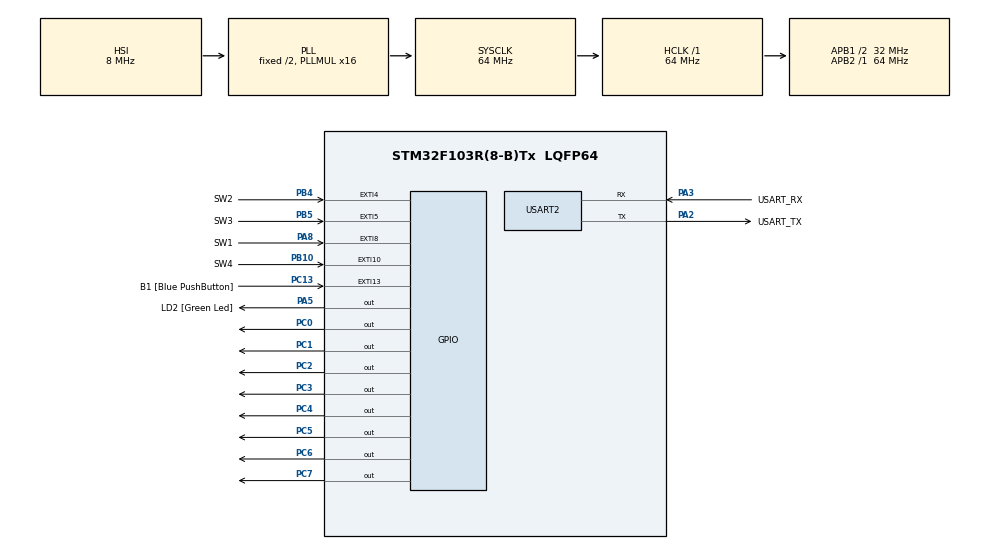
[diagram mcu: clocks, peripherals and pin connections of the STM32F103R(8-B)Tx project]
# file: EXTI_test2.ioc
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Mcu.Family=STM32F1
Mcu.Name=STM32F103R(8-B)Tx
Mcu.Package=LQFP64
NVIC.EXTI15_10_IRQn=true\:0\:0\:false\:false\:true\:true\:true\:true
NVIC.EXTI4_IRQn=true\:0\:0\:false\:false\:true\:true\:true\:true
NVIC.EXTI9_5_IRQn=true\:0\:0\:false\:false\:true\:true\:true\:true
NVIC.PriorityGroup=NVIC_PRIORITYGROUP_4
PA13.GPIO_Label=TMS
PA13.Mode=Serial_Wire
PA13.Signal=SYS_JTMS-SWDIO
PA14.GPIO_Label=TCK
PA14.Mode=Serial_Wire
PA14.Signal=SYS_JTCK-SWCLK
PA2.GPIO_Label=USART_TX
PA2.GPIO_Mode=GPIO_MODE_AF_PP
PA2.GPIO_PuPd=GPIO_NOPULL
PA2.GPIO_Speed=GPIO_SPEED_FREQ_LOW
PA2.Mode=Asynchronous
PA2.Signal=USART2_TX
PA3.GPIO_Label=USART_RX
PA3.GPIO_Mode=GPIO_MODE_AF_PP
PA3.GPIO_PuPd=GPIO_NOPULL
PA3.GPIO_Speed=GPIO_SPEED_FREQ_LOW
PA3.Mode=Asynchronous
PA3.Signal=USART2_RX
PA5.GPIO_Label=LD2 [Green Led]
PA5.GPIO_ModeDefaultOutputPP=GPIO_MODE_OUTPUT_PP
PA5.GPIO_PuPd=GPIO_NOPULL
PA5.GPIO_Speed=GPIO_SPEED_FREQ_LOW
PA5.Signal=GPIO_Output
PA8.GPIO_Label=SW1
PA8.GPIO_ModeDefaultEXTI=GPIO_MODE_IT_FALLING
PA8.Signal=GPXTI8
PB10.GPIO_Label=SW4
PB10.GPIO_ModeDefaultEXTI=GPIO_MODE_IT_FALLING
PB10.Signal=GPXTI10
PB3.GPIO_Label=SWO
PB3.Signal=SYS_JTDO-TRACESWO
PB4.GPIO_Label=SW2
PB4.GPIO_ModeDefaultEXTI=GPIO_MODE_IT_FALLING
PB4.Signal=GPXTI4
PB5.GPIO_Label=SW3
PB5.GPIO_ModeDefaultEXTI=GPIO_MODE_IT_FALLING
PB5.Signal=GPXTI5
PC0.Signal=GPIO_Output
PC1.Signal=GPIO_Output
PC13-TAMPER-RTC.GPIO_Label=B1 [Blue PushButton]
PC13-TAMPER-RTC.GPIO_PuPd=GPIO_NOPULL
PC13-TAMPER-RTC.Signal=GPXTI13
PC14-OSC32_IN.Mode=LSE-External-Oscillator
PC14-OSC32_IN.Signal=RCC_OSC32_IN
PC15-OSC32_OUT.Mode=LSE-External-Oscillator
PC15-OSC32_OUT.Signal=RCC_OSC32_OUT
PC2.Signal=GPIO_Output
PC3.Signal=GPIO_Output
PC4.Signal=GPIO_Output
PC5.Signal=GPIO_Output
PC6.Signal=GPIO_Output
PC7.Signal=GPIO_Output
PD0-OSC_IN.Mode=HSE-External-Clock-Source
PD0-OSC_IN.Signal=RCC_OSC_IN
PD1-OSC_OUT.Mode=HSE-External-Clock-Source
PD1-OSC_OUT.Signal=RCC_OSC_OUT
ProjectManager.HeapSize=0x200
ProjectManager.StackSize=0x400
ProjectManager.TargetToolchain=STM32CubeIDE
RCC.AHBFreq_Value=64000000
RCC.APB1CLKDivider=RCC_HCLK_DIV2
RCC.APB1Freq_Value=32000000
RCC.APB1TimFreq_Value=64000000
RCC.APB2Freq_Value=64000000
RCC.APB2TimFreq_Value=64000000
RCC.HCLKFreq_Value=64000000
RCC.PLLMUL=RCC_PLL_MUL16
RCC.RTCClockSelection=RCC_RTCCLKSOURCE_LSE
RCC.SYSCLKFreq_VALUE=64000000
RCC.SYSCLKSource=RCC_SYSCLKSOURCE_PLLCLK
RCC.USBFreq_Value=64000000
USART2.VirtualMode=VM_ASYNC
board=NUCLEO-F103RB

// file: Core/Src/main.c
/* USER CODE BEGIN Header */
/**
  ******************************************************************************
  * @file           : main.c
  * @brief          : Main program body
  ******************************************************************************
  * @attention
  *
  * Copyright (c) 2022 STMicroelectronics.
  * All rights reserved.
  *
  * This software is licensed under terms that can be found in the LICENSE file
  * in the root directory of this software component.
  * If no LICENSE file comes with this software, it is provided AS-IS.
  *
  ******************************************************************************
  */
/* USER CODE END Header */
#include "main.h"

 UART_HandleTypeDef huart2;

/* USER CODE BEGIN PV */
	int flag_SW1 = 0;
	int flag_SW2 = 0;
	int flag_SW3 = 0;
	int flag_SW4 = 0;
/* USER CODE END PV */

void SystemClock_Config(void);
static void MX_GPIO_Init(void);
static void MX_USART2_UART_Init(void);

int main(void)
{

  /* MCU Configuration--------------------------------------------------------*/

  /* Reset of all peripherals, Initializes the Flash interface and the Systick. */
  HAL_Init();

  /* Configure the system clock */
  SystemClock_Config();

  /* Initialize all configured peripherals */
  MX_GPIO_Init();
  MX_USART2_UART_Init();

  /* Infinite loop */
  while (1)
  {
	  if(flag_SW1){
			GPIOC->BRR = 0xff;
			GPIOC->BSRR = 0x03;
	  }
	  if(flag_SW2){
		  GPIOC->BRR = 0xff;
		  GPIOC->BSRR = 0x0c;
	  }
	  if(flag_SW3){
		  GPIOC->BRR = 0xff;
		  GPIOC->BSRR = 0x30;
	  }
	  if(flag_SW4){
		  GPIOC->BRR = 0xff;
		  GPIOC->BSRR = 0xc0;
	  }

  }
}

void SystemClock_Config(void)
{
  RCC_OscInitTypeDef RCC_OscInitStruct = {0};
  RCC_ClkInitTypeDef RCC_ClkInitStruct = {0};

  /** Initializes the RCC Oscillators according to the specified parameters
  * in the RCC_OscInitTypeDef structure.
  */
  RCC_OscInitStruct.OscillatorType = RCC_OSCILLATORTYPE_HSI;
  RCC_OscInitStruct.HSIState = RCC_HSI_ON;
  RCC_OscInitStruct.HSICalibrationValue = RCC_HSICALIBRATION_DEFAULT;
  RCC_OscInitStruct.PLL.PLLState = RCC_PLL_ON;
  RCC_OscInitStruct.PLL.PLLSource = RCC_PLLSOURCE_HSI_DIV2;
  RCC_OscInitStruct.PLL.PLLMUL = RCC_PLL_MUL16;
  if (HAL_RCC_OscConfig(&RCC_OscInitStruct) != HAL_OK)
  {
    Error_Handler();
  }

  /** Initializes the CPU, AHB and APB buses clocks
  */
  RCC_ClkInitStruct.ClockType = RCC_CLOCKTYPE_HCLK|RCC_CLOCKTYPE_SYSCLK
                              |RCC_CLOCKTYPE_PCLK1|RCC_CLOCKTYPE_PCLK2;
  RCC_ClkInitStruct.SYSCLKSource = RCC_SYSCLKSOURCE_PLLCLK;
  RCC_ClkInitStruct.AHBCLKDivider = RCC_SYSCLK_DIV1;
  RCC_ClkInitStruct.APB1CLKDivider = RCC_HCLK_DIV2;
  RCC_ClkInitStruct.APB2CLKDivider = RCC_HCLK_DIV1;

  if (HAL_RCC_ClockConfig(&RCC_ClkInitStruct, FLASH_LATENCY_2) != HAL_OK)
  {
    Error_Handler();
  }
}

static void MX_USART2_UART_Init(void)
{

  huart2.Instance = USART2;
  huart2.Init.BaudRate = 115200;
  huart2.Init.WordLength = UART_WORDLENGTH_8B;
  huart2.Init.StopBits = UART_STOPBITS_1;
  huart2.Init.Parity = UART_PARITY_NONE;
  huart2.Init.Mode = UART_MODE_TX_RX;
  huart2.Init.HwFlowCtl = UART_HWCONTROL_NONE;
  huart2.Init.OverSampling = UART_OVERSAMPLING_16;
  if (HAL_UART_Init(&huart2) != HAL_OK)
  {
    Error_Handler();
  }

}

static void MX_GPIO_Init(void)
{
  GPIO_InitTypeDef GPIO_InitStruct = {0};

  /* GPIO Ports Clock Enable */
  __HAL_RCC_GPIOC_CLK_ENABLE();
  __HAL_RCC_GPIOD_CLK_ENABLE();
  __HAL_RCC_GPIOA_CLK_ENABLE();
  __HAL_RCC_GPIOB_CLK_ENABLE();

  /*Configure GPIO pin Output Level */
  HAL_GPIO_WritePin(GPIOC, GPIO_PIN_0|GPIO_PIN_1|GPIO_PIN_2|GPIO_PIN_3
                          |GPIO_PIN_4|GPIO_PIN_5|GPIO_PIN_6|GPIO_PIN_7, GPIO_PIN_RESET);

  /*Configure GPIO pin Output Level */
  HAL_GPIO_WritePin(LD2_GPIO_Port, LD2_Pin, GPIO_PIN_RESET);

  /*Configure GPIO pin : B1_Pin */
  GPIO_InitStruct.Pin = B1_Pin;
  GPIO_InitStruct.Mode = GPIO_MODE_IT_RISING;
  GPIO_InitStruct.Pull = GPIO_NOPULL;
  HAL_GPIO_Init(B1_GPIO_Port, &GPIO_InitStruct);

  /*Configure GPIO pins : PC0 PC1 PC2 PC3
                           PC4 PC5 PC6 PC7 */
  GPIO_InitStruct.Pin = GPIO_PIN_0|GPIO_PIN_1|GPIO_PIN_2|GPIO_PIN_3
                          |GPIO_PIN_4|GPIO_PIN_5|GPIO_PIN_6|GPIO_PIN_7;
  GPIO_InitStruct.Mode = GPIO_MODE_OUTPUT_PP;
  GPIO_InitStruct.Pull = GPIO_NOPULL;
  GPIO_InitStruct.Speed = GPIO_SPEED_FREQ_LOW;
  HAL_GPIO_Init(GPIOC, &GPIO_InitStruct);

  /*Configure GPIO pin : LD2_Pin */
  GPIO_InitStruct.Pin = LD2_Pin;
  GPIO_InitStruct.Mode = GPIO_MODE_OUTPUT_PP;
  GPIO_InitStruct.Pull = GPIO_NOPULL;
  GPIO_InitStruct.Speed = GPIO_SPEED_FREQ_LOW;
  HAL_GPIO_Init(LD2_GPIO_Port, &GPIO_InitStruct);

  /*Configure GPIO pins : SW4_Pin SW2_Pin SW3_Pin */
  GPIO_InitStruct.Pin = SW4_Pin|SW2_Pin|SW3_Pin;
  GPIO_InitStruct.Mode = GPIO_MODE_IT_FALLING;
  GPIO_InitStruct.Pull = GPIO_NOPULL;
  HAL_GPIO_Init(GPIOB, &GPIO_InitStruct);

  /*Configure GPIO pin : SW1_Pin */
  GPIO_InitStruct.Pin = SW1_Pin;
  GPIO_InitStruct.Mode = GPIO_MODE_IT_FALLING;
  GPIO_InitStruct.Pull = GPIO_NOPULL;
  HAL_GPIO_Init(SW1_GPIO_Port, &GPIO_InitStruct);

  /* EXTI interrupt init*/
  HAL_NVIC_SetPriority(EXTI4_IRQn, 0, 0);
  HAL_NVIC_EnableIRQ(EXTI4_IRQn);

  HAL_NVIC_SetPriority(EXTI9_5_IRQn, 0, 0);
  HAL_NVIC_EnableIRQ(EXTI9_5_IRQn);

  HAL_NVIC_SetPriority(EXTI15_10_IRQn, 0, 0);
  HAL_NVIC_EnableIRQ(EXTI15_10_IRQn);

}

/* USER CODE BEGIN 4 */
void HAL_GPIO_EXTI_Callback(uint16_t GPIO_Pin) {
	if (GPIO_Pin == SW1_Pin) {
		flag_SW1 = 1;
		flag_SW2 = 0;
		flag_SW3 = 0;
		flag_SW4 = 0;
	}
	if (GPIO_Pin == SW2_Pin) {
		flag_SW1 = 0;
		flag_SW2 = 1;
		flag_SW3 = 0;
		flag_SW4 = 0;
	}
	if (GPIO_Pin == SW3_Pin) {
		flag_SW1 = 0;
		flag_SW2 = 0;
		flag_SW3 = 1;
		flag_SW4 = 0;
	}
	if (GPIO_Pin == SW4_Pin) {
		flag_SW1 = 0;
		flag_SW2 = 0;
		flag_SW3 = 0;
		flag_SW4 = 1;
	}
}
/* USER CODE END 4 */

void Error_Handler(void)
{
  __disable_irq();
  while (1)
  {
  }
}
